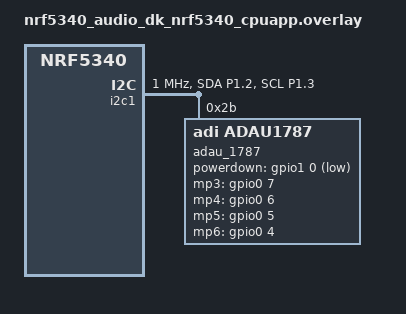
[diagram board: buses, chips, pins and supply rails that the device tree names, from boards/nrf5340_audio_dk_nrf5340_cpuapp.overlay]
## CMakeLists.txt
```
#
# Copyright (c) 2022 Nordic Semiconductor ASA
#
# SPDX-License-Identifier: LicenseRef-Nordic-5-Clause
#

cmake_minimum_required(VERSION 3.20.0)

# Flag which defines whether application is compiled as gateway/dongle or headset
add_compile_definitions(HEADSET=1)
add_compile_definitions(GATEWAY=2)

find_package(Zephyr REQUIRED HINTS $ENV{ZEPHYR_BASE})

project(new-tiresias)

string(TIMESTAMP NRF5340_AUDIO_CORE_APP_COMP_DATE "%a %b %d %H:%M:%S %Y")

# Generate fw_info_app.c
configure_file("${CMAKE_CURRENT_SOURCE_DIR}/src/utils/fw_info_app.c.in"
               "${CMAKE_BINARY_DIR}/fw_info_app.c"
               @ONLY)

target_sources(app PRIVATE
    ${CMAKE_BINARY_DIR}/fw_info_app.c
    )

target_sources(app PRIVATE src/main.c)

# Include application events and configuration headers
zephyr_library_include_directories(
    include
    src/audio
    src/application
    src/bluetooth
    src/codec
    src/drivers
    src/modules
    src/utils
    src/utils/macros
    src/SigmaStudioFiles
)

# Application sources
add_subdirectory(src/audio)
add_subdirectory(src/application)
add_subdirectory(src/bluetooth)
add_subdirectory(src/codec)
add_subdirectory(src/drivers)
add_subdirectory(src/modules)
add_subdirectory(src/utils)
add_subdirectory(src/SigmaStudioFiles)
```

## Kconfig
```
#
# Copyright (c) 2018 Nordic Semiconductor ASA
#
# SPDX-License-Identifier: LicenseRef-Nordic-5-Clause
#

menuconfig NRF5340_AUDIO
	 bool "nRF5340 Audio [EXPERIMENTAL]"
	 select EXPERIMENTAL

if NRF5340_AUDIO

config TIRESIAS_AUDIO_HW
	bool "Enable Tiresias hardware audio path"
	default y if BOARD_TIRESIAS_DK_NRF5340_CPUAPP
	depends on BOARD_TIRESIAS_DK_NRF5340_CPUAPP
	help
	  Enable the I2S audio datapath used by the Tiresias DK. Disable this
	  option for Bluetooth-only testing on boards without the Tiresias audio
	  hardware. The Bluetooth transport remains active and received ISO data
	  is discarded by compile-time stubs.

config AUDIO_CODEC_ADAU1787
	bool "Enable ADAU1787 codec integration"
	default y if TIRESIAS_AUDIO_HW
	depends on I2C && GPIO
	help
	  Enable ADAU1787 hardware behavior in Codec Controller. The ADAU1787
	  driver and SigmaStudio export compile independently of this option so
	  their APIs and compile coverage remain available during integration work.

	  The target devicetree must provide an enabled adau_1787 node on the
	  desired I2C bus, including powerdown-gpios and MP3 through MP6 GPIOs.
	  The Tiresias DK board supplies this node; other boards must supply it
	  in an application overlay.

config CUSTOM_BROADCASTER
	bool "Allow custom broadcasters"
	default n
	help
	  Incomplete feature for now, but will introduce support for multiple BIGs and subgroups.

config AUDIO_DEV
	int "Select which device type to compile for. 1=HEADSET or 2=GATEWAY"
	range 1 2
	default 1
	help
	  Setting this variable to 1 selects that the project is compiled
	  as a HEADSET device.
	  Setting to 2 will compile as a GATEWAY.

choice NRF5340_AUDIO_TRANSPORT_MODE
	prompt "Choose BIS or CIS for ISO transport"
	default TRANSPORT_CIS if WALKIE_TALKIE_DEMO
	default TRANSPORT_CIS

config TRANSPORT_BIS
	bool "Use BIS (Broadcast Isochronous Stream)"

config TRANSPORT_CIS
	bool "Use CIS (Connected Isochronous Stream)"

endchoice

#----------------------------------------------------------------------------#
rsource "Kconfig.defaults"
rsource "src/audio/Kconfig"
rsource "src/bluetooth/Kconfig"
rsource "src/drivers/Kconfig"
rsource "src/modules/Kconfig"
rsource "src/utils/Kconfig"

#----------------------------------------------------------------------------#
menu "Logging"

module = MAIN
module-str = main
source "subsys/logging/Kconfig.template.log_config"

config PRINT_STACK_USAGE_MS
	depends on THREAD_ANALYZER && INIT_STACKS
	int "Print stack usage every x milliseconds"
	default 5000

endmenu # Log levels

#----------------------------------------------------------------------------#
endif # NRF5340_AUDIO

source "Kconfig.zephyr"
```

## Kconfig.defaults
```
#
# Copyright (c) 2022 Nordic Semiconductor ASA
#
# SPDX-License-Identifier: LicenseRef-Nordic-5-Clause
#

config REBOOT
	default y

config MAIN_THREAD_PRIORITY
	default 10

config MAIN_STACK_SIZE
	default 8192

config SYSTEM_WORKQUEUE_STACK_SIZE
	default 1200

# As long as thread names are used, config must be set to "y"
config THREAD_NAME
	default y

# Workaround to not use fatal_error.c in NCS. Note that the system may still
# reset on error depending on the build configuraion
config RESET_ON_FATAL_ERROR
	default n

# Default Config for Debug and Release build
config BT
	default y

config ZBUS
	default y

config ZBUS_RUNTIME_OBSERVERS
	default y

config ZBUS_MSG_SUBSCRIBER
	default y

config SENSOR
	default y

config REGULATOR
	default y

config CONTIN_ARRAY
	default y if TIRESIAS_AUDIO_HW

config NRFX_I2S0
	default y if TIRESIAS_AUDIO_HW

config PCM_MIX
	default y if TIRESIAS_AUDIO_HW

config PSCM
	default y if TIRESIAS_AUDIO_HW

config DATA_FIFO
	default y

# Enable NRFX_CLOCK for ACLK control
config NRFX_CLOCK
	default y

config I2C
	default y

choice LIBC_IMPLEMENTATION
	# NOTE: Since we are not using minimal libc, error codes from
	#       minimal libc are not used
	default NEWLIB_LIBC
endchoice

# Audio codec LC3 related defines
# FPU_SHARING enables preservation of the hardware floating point registers
# across context switches to allow multiple threads to perform concurrent
# floating point operations.
config FPU
	default y

config FPU_SHARING
	default y

# Enable SDHC interface
config DISK_DRIVERS
	default y

config DISK_DRIVER_SDMMC
	default y

# Enable SPI interface
config SPI
	default y

# Enable ADC for board version readback
config ADC
	default y

# Allocate buffer on RAM for transferring chunck of data
# from Flash to SPI
config SPI_NRFX_RAM_BUFFER_SIZE
	default 8

# Config the file system
config FILE_SYSTEM
	default y

config FAT_FILESYSTEM_ELM
	default y

config FS_FATFS_LFN
	default y
choice FS_FATFS_LFN_MODE
	# Using stack for LFN work queue
	default FS_FATFS_LFN_MODE_STACK
endchoice

# exFAT enabled to support longer file names and higher transfer speed
config FS_FATFS_EXFAT
	default y

config WATCHDOG
	default y

config TASK_WDT
	default y
```

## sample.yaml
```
sample:
  name: Tiresias DK firmware
  description: Firmware for the Tiresias DK hearing-aid prototype
common:
  integration_platforms:
    - tiresias_dk/nrf5340/cpuapp
  platform_allow:
    - tiresias_dk/nrf5340/cpuapp
    - nrf5340_audio_dk/nrf5340/cpuapp
    - nrf5340dk/nrf5340/cpuapp
  sysbuild: true
  build_only: true
  tags:
    - tiresias
    - audio
    - bluetooth
    - sysbuild
tests:
  applications.tiresias.default: {}
```

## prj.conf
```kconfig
#
# Copyright (c) 2024 Nordic Semiconductor ASA
#
# SPDX-License-Identifier: LicenseRef-Nordic-5-Clause
#

# nRF5340 Audio
CONFIG_NRF5340_AUDIO=y
CONFIG_SAMPLE_RATE_CONVERTER=y
CONFIG_SAMPLE_RATE_CONVERTER_FILTER_SIMPLE=y

# General
CONFIG_DEBUG=y
CONFIG_DEBUG_INFO=y
CONFIG_ASSERT=y
CONFIG_STACK_USAGE=y
CONFIG_THREAD_RUNTIME_STATS=y
CONFIG_STACK_SENTINEL=y
CONFIG_INIT_STACKS=y
CONFIG_BT=y

# Uart driver
CONFIG_SERIAL=y

# Logging
CONFIG_LOG=y
CONFIG_NEWLIB_LIBC_FLOAT_PRINTF=y
CONFIG_LOG_TAG_MAX_LEN=2
CONFIG_LOG_TAG_DEFAULT="--"
CONFIG_LOG_BACKEND_UART=n
CONFIG_LOG_BACKEND_RTT=y
CONFIG_LOG_BUFFER_SIZE=4096

# Use this for debugging thread usage
#CONFIG_LOG_THREAD_ID_PREFIX=y

# Console related defines
CONFIG_CONSOLE=y
CONFIG_RTT_CONSOLE=y
CONFIG_UART_CONSOLE=n
CONFIG_SEGGER_RTT_BUFFER_SIZE_UP=8192

# Shell related defines
CONFIG_SHELL=y
CONFIG_KERNEL_SHELL=y
CONFIG_USE_SEGGER_RTT=y
CONFIG_SHELL_BACKEND_RTT=n
CONFIG_SHELL_BACKEND_SERIAL=n
CONFIG_SHELL_VT100_COMMANDS=y
CONFIG_SHELL_VT100_COLORS=y
CONFIG_SHELL_STACK_SIZE=4096
CONFIG_SHELL_CMD_BUFF_SIZE=128
## Reduce shell memory usage
CONFIG_SHELL_WILDCARD=n
CONFIG_SHELL_HELP_ON_WRONG_ARGUMENT_COUNT=n
CONFIG_SHELL_STATS=n
CONFIG_SHELL_CMDS=n
CONFIG_SHELL_HISTORY=y

# Turn off default shell commands
CONFIG_I2C_SHELL=n
CONFIG_HWINFO_SHELL=n
CONFIG_CLOCK_CONTROL_NRF_SHELL=n
CONFIG_FLASH_SHELL=n
CONFIG_DEVICE_SHELL=n

# Suppress LOG_ERR messages from sd_check_card_type. Because SPI_SDHC has no card presence method,
# assume card is in slot. Thus error message is always shown if card is not inserted
CONFIG_SD_LOG_LEVEL_OFF=y

# Suppress LOG_INF messages from hci_core
CONFIG_BT_HCI_CORE_LOG_LEVEL_WRN=y

# DFU
CONFIG_AUDIO_BT_MGMT_DFU=y
CONFIG_MCUMGR_TRANSPORT_BT_PERM_RW=y
CONFIG_BT_L2CAP_TX_MTU=498
CONFIG_BT_BUF_ACL_TX_SIZE=251

# External Flash
CONFIG_FLASH=y
CONFIG_FLASH_MAP=y
CONFIG_SPI_NOR=y
CONFIG_SPI_NOR_SFDP_DEVICETREE=y

# ====================== Broadcast Sink ====================== #

CONFIG_TRANSPORT_BIS=y
CONFIG_AUDIO_DEV=1
CONFIG_BT_DEVICE_NAME="Tiresias_DK"

## ACL related configs ##
CONFIG_BT_OBSERVER=y
CONFIG_BT_PERIPHERAL=y
CONFIG_BT_SMP=y
CONFIG_BT_AUDIO=y
CONFIG_BT_GATT_DYNAMIC_DB=y
CONFIG_BT_GATT_CACHING=n

## Device Information Service
CONFIG_BT_DIS=y
CONFIG_BT_DIS_MANUF_NAME=y
CONFIG_BT_DIS_MANUF_NAME_STR="EESC-USP"
CONFIG_BT_DIS_MODEL_NUMBER=y
CONFIG_BT_DIS_MODEL_NUMBER_STR="Tiresias Hearing Aid"
CONFIG_BT_DIS_FW_REV=y

CONFIG_SETTINGS=y
CONFIG_BT_SETTINGS=y
CONFIG_FLASH=y
CONFIG_FLASH_MAP=y
CONFIG_NVS=y

CONFIG_MBEDTLS_ENABLE_HEAP=y
CONFIG_MBEDTLS_HEAP_SIZE=2048

CONFIG_BT_BUF_ACL_TX_COUNT=18

CONFIG_BT_PERIPHERAL_PREF_MIN_INT=64
CONFIG_BT_PERIPHERAL_PREF_MAX_INT=69
CONFIG_BT_PERIPHERAL_PREF_LATENCY=0
CONFIG_BT_PERIPHERAL_PREF_TIMEOUT=200

# Generic Audio Sink - 0x0840
CONFIG_BT_DEVICE_APPEARANCE=2112
CONFIG_BT_PER_ADV_SYNC_MAX=2

## ISO related configs ##
CONFIG_BT_BAP_BROADCAST_SNK_STREAM_COUNT=2
CONFIG_BT_BAP_BROADCAST_SNK_COUNT=2
CONFIG_BT_ISO_MAX_CHAN=2
CONFIG_BT_ISO_MAX_BIG=2

## PACS related configs ##
CONFIG_BT_PAC_SNK_NOTIFIABLE=y
CONFIG_BT_PAC_SNK=y
CONFIG_BT_PAC_SRC_NOTIFIABLE=y
CONFIG_BT_PAC_SRC=y

## Audio related configs ##
CONFIG_AUDIO_MUTE=n
CONFIG_AUDIO_TEST_TONE=y

CONFIG_BT_ISO_SYNC_RECEIVER=y
CONFIG_BT_BAP_SCAN_DELEGATOR=y
CONFIG_BT_BAP_BROADCAST_SINK=y

## LC3 related configs ##
CONFIG_LC3_DEC_CHAN_MAX=1
```

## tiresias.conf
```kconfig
# I2S
CONFIG_I2S=n
CONFIG_NRFX_I2S0=y
CONFIG_I2S_NRFX=n
CONFIG_SERIAL=y
# Bluetooth
CONFIG_BT=y
CONFIG_BT_PERIPHERAL=y
CONFIG_BT_DEVICE_NAME="Tiresias_DK"
CONFIG_BT_GATT_DYNAMIC_DB=y
CONFIG_BT_SMP=y
## Device Information Service
CONFIG_BT_DIS=y
CONFIG_BT_DIS_MANUF_NAME=y
CONFIG_BT_DIS_MANUF_NAME_STR="EESC-USP"
CONFIG_BT_DIS_MODEL_NUMBER=y
CONFIG_BT_DIS_MODEL_NUMBER_STR="Tiresias Hearing Aid"
CONFIG_BT_DIS_FW_REV=y
## Battery Service
CONFIG_BT_BAS=y
# https://docs.nordicsemi.com/bundle/zephyr-apis-latest/page/group_bt_bas.html
# CONFIG_BT_AUDIO=y
# CONFIG_BT_BAP_BROADCAST_SINK=y
# CONFIG_BT_ISO=y
# MCUMGR
CONFIG_MCUMGR=y
CONFIG_MCUMGR_TRANSPORT_BT=y
CONFIG_MCUMGR_GRP_OS=y
CONFIG_MCUMGR_GRP_IMG=y
CONFIG_MCUMGR_GRP_SHELL=y
CONFIG_STATS=y
CONFIG_MCUMGR_GRP_STAT=y
CONFIG_SHELL=y
CONFIG_BT_SHELL=y
CONFIG_SHELL_BACKEND_DUMMY=y
# GPIO
CONFIG_GPIO=y
# Debug
CONFIG_DEBUG_THREAD_INFO=y
CONFIG_DEBUG_OPTIMIZATIONS=y
# Log
CONFIG_LOG=y
CONFIG_LOG_MODE_DEFERRED=n
# Enable RTT
CONFIG_USE_SEGGER_RTT=y
CONFIG_LOG_BACKEND_RTT=y
CONFIG_LOG_BACKEND_SHOW_COLOR=n
CONFIG_LOG_MODE_IMMEDIATE=n
CONFIG_SEGGER_RTT_BUFFER_SIZE_UP=8192
# Enables console over RTT
CONFIG_RTT_CONSOLE=y
# ZBUS
CONFIG_ZBUS=y
CONFIG_ZBUS_LOG_LEVEL_INF=y
CONFIG_ZBUS_RUNTIME_OBSERVERS=y
# Stacks and heaps
CONFIG_MAIN_STACK_SIZE=16384
CONFIG_HEAP_MEM_POOL_SIZE=16384
# I2C
CONFIG_I2C=y
CONFIG_NRFX_TWIM1=y
CONFIG_NRFX_TIMER1=y
# NFC pins disable
# CONFIG_NFCT_PINS_AS_GPIOS=y
# Storage
CONFIG_FLASH=y
CONFIG_FLASH_MAP=y
CONFIG_NVS=y
CONFIG_MPU_ALLOW_FLASH_WRITE=y
# Tiresias
# CONFIG_NO_AUDIO_CODEC=y
# CONFIG_AUDIO_CODEC_ADAU1787 defaults to y with the Tiresias audio path, but
# can also be enabled independently for an externally connected codec.
# CONFIG_AUDIO_CODEC_ADAU1787=y
# FOTA
CONFIG_NCS_SAMPLE_MCUMGR_BT_OTA_DFU=y
CONFIG_PINCTRL=y
```

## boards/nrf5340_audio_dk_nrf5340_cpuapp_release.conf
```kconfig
#
# Copyright (c) 2024 Nordic Semiconductor ASA
#
# SPDX-License-Identifier: LicenseRef-Nordic-5-Clause
#

# This target has no onboard Tiresias audio path. CONFIG_AUDIO_CODEC_ADAU1787
# remains independently selectable when an external codec is described by an
# application devicetree overlay.
CONFIG_TIRESIAS_AUDIO_HW=n
# CONFIG_AUDIO_CODEC_ADAU1787=y
CONFIG_NRF5340_AUDIO_CS47L63_DRIVER=n
CONFIG_NRF5340_AUDIO_POWER_MEASUREMENT=n
CONFIG_NRF5340_AUDIO_SD_CARD_MODULE=n
```

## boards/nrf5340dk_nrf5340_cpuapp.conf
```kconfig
#
# Copyright (c) 2026 Tiresias Firmware Team
#
# SPDX-License-Identifier: LicenseRef-Nordic-5-Clause
#

# This target has no onboard Tiresias audio path. CONFIG_AUDIO_CODEC_ADAU1787
# remains independently selectable when an external codec is described by an
# application devicetree overlay.
CONFIG_TIRESIAS_AUDIO_HW=n
# CONFIG_AUDIO_CODEC_ADAU1787=y
CONFIG_NRF5340_AUDIO_CS47L63_DRIVER=n
CONFIG_NRF5340_AUDIO_POWER_MEASUREMENT=n
CONFIG_NRF5340_AUDIO_SD_CARD_MODULE=n
```

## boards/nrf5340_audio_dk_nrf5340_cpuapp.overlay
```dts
/ {
	aliases {
		led0 = &led1_blue;
		led1 = &led2_green;
		led2 = &led3_green;
	};
};

&i2c1 {
	status = "okay";
	compatible = "nordic,nrf-twim";
	label = "I2C_1";
	pinctrl-0 = <&i2c1_default>;
	pinctrl-1 = <&i2c1_sleep>;
	pinctrl-names = "default", "sleep";
	clock-frequency = <I2C_BITRATE_FAST_PLUS>;
	zephyr,concat-buf-size = <4092>;
	zephyr,flash-buf-max-size = <4092>;

	adau_1787: adau_1787@2b {
		compatible = "adi,adau1787";
		status = "okay";
		reg = <0x2b>;
		label = "adau_1787";
		powerdown-gpios = <&gpio1 0 GPIO_ACTIVE_LOW>;
		mp3-gpios = <&gpio0 7 GPIO_ACTIVE_HIGH>;
		mp4-gpios = <&gpio0 6 GPIO_ACTIVE_HIGH>;
		mp5-gpios = <&gpio0 5 GPIO_ACTIVE_HIGH>;
		mp6-gpios = <&gpio0 4 GPIO_ACTIVE_HIGH>;
	};

//   bmi270: bmi270@68 {
//     compatible = "bosch,bmi270";
//     status = "okay";
//     reg = <0x68>;
//     label = "bmi270";
//     irq-gpios = <&gpio0 2 GPIO_ACTIVE_HIGH>, <&gpio0 3 GPIO_ACTIVE_HIGH>;
//   };

};

&pinctrl {
	i2c1_default: i2c1_default {
		group1 {
			psels = <NRF_PSEL(TWIM_SDA, 1, 2)>,
				<NRF_PSEL(TWIM_SCL, 1, 3)>;
		};
	};

	i2c1_sleep: i2c1_sleep {
		group1 {
			psels = <NRF_PSEL(TWIM_SDA, 1, 2)>,
				<NRF_PSEL(TWIM_SCL, 1, 3)>;
			low-power-enable;
		};
	};
};
```

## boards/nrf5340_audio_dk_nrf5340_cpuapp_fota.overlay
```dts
/ {
	aliases {
		led0 = &led1_blue;
		led1 = &led2_green;
		led2 = &led3_green;
	};

	chosen {
		nordic,pm-ext-flash = &mx25r64;
	};
};

&qspi {
	status = "disabled";
};

&spi4 {
	cs-gpios = <&gpio1 10 GPIO_ACTIVE_LOW>, <&gpio0 11 GPIO_ACTIVE_LOW>, <&gpio0 17 GPIO_ACTIVE_LOW>;
	status = "okay";
	mx25r64: mx25r6435f@0 {

		compatible = "jedec,spi-nor";
		reg = <0>;
		spi-max-frequency = <8000000>;

		jedec-id = [c2 28 17];
		sfdp-bfp = [
			e5 20 f1 ff  ff ff ff 03  44 eb 08 6b  08 3b 04 bb
			ee ff ff ff  ff ff 00 ff  ff ff 00 ff  0c 20 0f 52
			10 d8 00 ff  23 72 f5 00  82 ed 04 cc  44 83 68 44
			30 b0 30 b0  f7 c4 d5 5c  00 be 29 ff  f0 d0 ff ff
		];
		size = <67108864>;
		has-dpd;
		t-enter-dpd = <10000>;
		t-exit-dpd = <5000>;
		dpd-wakeup-sequence = <30000 20 45000>;
	};
};

&gpio_fwd {
	uart {
		gpios = < &gpio1 0x9 0x0 >, < &gpio1 0x8 0x0 >, < &gpio1 0xb 0x0 >;
	};
};
```

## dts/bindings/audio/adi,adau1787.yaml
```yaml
# SPDX-License-Identifier: Apache-2.0

description: Analog Devices ADAU1787 audio codec

compatible: "adi,adau1787"

include: i2c-device.yaml

properties:
  powerdown-gpios:
    type: phandle-array
    required: true
    description: |
      GPIO connected to the codec power-down pin. The ADAU1787 pin is active
      low, so boards should normally define this as GPIO_ACTIVE_LOW.

  mp3-gpios:
    type: phandle-array
    required: true
    description: GPIO connected to the codec MP3 multipurpose pin.

  mp4-gpios:
    type: phandle-array
    required: true
    description: GPIO connected to the codec MP4 multipurpose pin.

  mp5-gpios:
    type: phandle-array
    required: true
    description: GPIO connected to the codec MP5 multipurpose pin.

  mp6-gpios:
    type: phandle-array
    required: true
    description: GPIO connected to the codec MP6 multipurpose pin.
```

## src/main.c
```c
/*
 * Copyright (c) 2023 Nordic Semiconductor ASA
 *
 * SPDX-License-Identifier: LicenseRef-Nordic-5-Clause
 */

#include "device_controller.h"
#include "fw_info_app.h"
#include "macros_common.h"
#include "tiresias_dk.h"
#include "tiresias_service.h"

#include <zephyr/logging/log.h>

LOG_MODULE_REGISTER(main, CONFIG_MAIN_LOG_LEVEL);

int main(void)
{
  int ret;

  LOG_DBG("Main started");

  ret = tiresias_dk_init();
  ERR_CHK(ret);

  ret = fw_info_app_print();
  ERR_CHK(ret);

  ret = tiresias_service_init();
  ERR_CHK(ret);

  ret = device_controller_run();
  ERR_CHK(ret);

  return ret;
}
```

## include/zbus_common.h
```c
/*
 * Copyright (c) 2023 Nordic Semiconductor ASA
 *
 * SPDX-License-Identifier: LicenseRef-Nordic-5-Clause
 */

#ifndef _ZBUS_COMMON_H_
#define _ZBUS_COMMON_H_

#include <zephyr/bluetooth/audio/audio.h>

#include "le_audio.h"

#define ZBUS_READ_TIMEOUT_MS	K_MSEC(100)
#define ZBUS_ADD_OBS_TIMEOUT_MS K_MSEC(200)

/***** Messages for zbus ******/

/* === Button === */
typedef enum btn_event_t {
	BUTTON_1_PRESSED,
} btn_event_t;
typedef struct btn_chan_msg_t {
	enum btn_event_t event;
} btn_chan_msg_t;

/* === Device Controller subsystem === */
typedef enum device_controller_cmd {
  DEVICE_CONTROLLER_CMD_START,
  DEVICE_CONTROLLER_CMD_LOW_POWER,
  DEVICE_CONTROLLER_CMD_WAKE,
  DEVICE_CONTROLLER_CMD_POWER_OFF,
  DEVICE_CONTROLLER_CMD_RECOVER,
} device_controller_cmd;

typedef struct device_controller_cmd_chan_msg {
  enum device_controller_cmd cmd;
} device_controller_cmd_chan_msg;

typedef enum device_controller_state {
  DEVICE_CONTROLLER_STATE_OFF,
  DEVICE_CONTROLLER_STATE_INITIALIZING,
  DEVICE_CONTROLLER_STATE_OPERATIONAL,
  DEVICE_CONTROLLER_STATE_LOW_POWER,
  DEVICE_CONTROLLER_STATE_FAULT,
} device_controller_state;

typedef struct device_controller_state_chan_msg {
  enum device_controller_state state;
} device_controller_state_chan_msg;

/* === Codec Controller subsystem === */
typedef enum codec_controller_cmd {
  CODEC_CONTROLLER_CMD_INITIALIZE,
  CODEC_CONTROLLER_CMD_SELECT_LOCAL,
  CODEC_CONTROLLER_CMD_SELECT_BROADCAST,
  CODEC_CONTROLLER_CMD_POWER_DOWN,
  CODEC_CONTROLLER_CMD_RESET,
} codec_controller_cmd;

typedef struct codec_controller_cmd_chan_msg {
  enum codec_controller_cmd cmd;
} codec_controller_cmd_chan_msg;

typedef enum codec_controller_state {
  CODEC_CONTROLLER_STATE_OFF,
  CODEC_CONTROLLER_STATE_INITIALIZING,
  CODEC_CONTROLLER_STATE_LOCAL_ONLY,
  CODEC_CONTROLLER_STATE_BROADCAST_ONLY,
  CODEC_CONTROLLER_STATE_ERROR,
} codec_controller_state;

typedef struct codec_controller_state_chan_msg {
  enum codec_controller_state state;
} codec_controller_state_chan_msg;

typedef enum codec_controller_result {
  CODEC_CONTROLLER_RESULT_COMMAND_REJECTED,
  CODEC_CONTROLLER_RESULT_OPERATION_FAILED,
} codec_controller_result;

typedef struct codec_controller_result_chan_msg {
  enum codec_controller_cmd cmd;
  enum codec_controller_result result;
  int error;
} codec_controller_result_chan_msg;

/* === Control Link subsystem === */
typedef enum control_link_cmd {
  CONTROL_LINK_CMD_ENABLE_CONTROL,
  CONTROL_LINK_CMD_DISABLE_CONTROL,
  CONTROL_LINK_CMD_RESET,
} control_link_cmd;

typedef struct control_link_cmd_chan_msg {
  enum control_link_cmd cmd;
} control_link_cmd_chan_msg;

typedef enum control_link_state {
  CONTROL_LINK_STATE_DISABLED,
  CONTROL_LINK_STATE_ADVERTISING,
  CONTROL_LINK_STATE_LINKED,
  CONTROL_LINK_STATE_READY,
  CONTROL_LINK_STATE_ERROR,
} control_link_state;

typedef struct control_link_state_chan_msg {
  enum control_link_state state;
} control_link_state_chan_msg;

typedef enum control_link_result {
  CONTROL_LINK_RESULT_COMMAND_REJECTED,
  CONTROL_LINK_RESULT_OPERATION_FAILED,
} control_link_result;

typedef struct control_link_event_chan_msg {
  enum control_link_cmd cmd;
  enum control_link_result result;
  int error;
} control_link_event_chan_msg;

/* === Audio Streaming subsystem === */
typedef enum audio_streaming_cmd {
  AUDIO_STREAMING_CMD_ENABLE_RECEIVER,
  AUDIO_STREAMING_CMD_START_SCAN,
  AUDIO_STREAMING_CMD_STOP_SCAN,
  AUDIO_STREAMING_CMD_STOP,
  AUDIO_STREAMING_CMD_DISABLE_RECEIVER,
  AUDIO_STREAMING_CMD_RESET,
} audio_streaming_cmd;

typedef struct audio_streaming_cmd_chan_msg {
  enum audio_streaming_cmd cmd;
} audio_streaming_cmd_chan_msg;

typedef enum audio_streaming_state {
  AUDIO_STREAMING_STATE_DISABLED,
  AUDIO_STREAMING_STATE_IDLE,
  AUDIO_STREAMING_STATE_SCANNING,
  AUDIO_STREAMING_STATE_PA_SYNCED,
  AUDIO_STREAMING_STATE_BIS_SYNCING,
  AUDIO_STREAMING_STATE_STREAMING,
  AUDIO_STREAMING_STATE_RECOVERING,
  AUDIO_STREAMING_STATE_ERROR,
} audio_streaming_state;

typedef struct audio_streaming_state_chan_msg {
  enum audio_streaming_state state;
} audio_streaming_state_chan_msg;

typedef enum audio_streaming_result {
  AUDIO_STREAMING_RESULT_COMMAND_REJECTED,
  AUDIO_STREAMING_RESULT_OPERATION_FAILED,
} audio_streaming_result;

typedef struct audio_streaming_result_chan_msg {
  enum audio_streaming_cmd cmd;
  enum audio_streaming_result result;
  int error;
} audio_streaming_result_chan_msg;

/* === LED === */
typedef enum board_led_t {
  LED_1,
  LED_2,
  LED_3,
} board_led_t;
typedef enum led_cmd_t {
  TURN_ON,
  TURN_OFF,
  TOGGLE,
  BLINK,
} led_cmd_t;
typedef struct led_chan_msg_t {
  enum board_led_t led;
  enum led_cmd_t cmd;
} led_chan_msg_t;

enum le_audio_evt_type {
	LE_AUDIO_EVT_CONFIG_RECEIVED = 1,
	LE_AUDIO_EVT_PRES_DELAY_SET,
	LE_AUDIO_EVT_STREAMING,
	LE_AUDIO_EVT_NOT_STREAMING,
	LE_AUDIO_EVT_STREAM_SENT,
	LE_AUDIO_EVT_SYNC_LOST,
	LE_AUDIO_EVT_NO_VALID_CFG,
	LE_AUDIO_EVT_COORD_SET_DISCOVERED,
};

struct le_audio_msg {
	enum le_audio_evt_type event;
	struct bt_conn *conn;
	struct bt_le_per_adv_sync *pa_sync;
	enum bt_audio_dir dir;
	uint8_t set_size;
	uint8_t const *sirk;
	struct stream_index idx;
};

/**
 * tx_sync_ts_us	The timestamp from get_tx_sync.
 * curr_ts_us		The current time. This must be in the controller frame of reference.
 */
struct sdu_ref_msg {
	uint32_t tx_sync_ts_us;
	uint32_t curr_ts_us;
	bool adjust;
};

enum bt_mgmt_evt_type {
	BT_MGMT_EXT_ADV_WITH_PA_READY = 1,
	BT_MGMT_CONNECTED,
	BT_MGMT_SECURITY_CHANGED,
	BT_MGMT_PA_SYNCED,
	BT_MGMT_PA_SYNC_LOST,
	BT_MGMT_DISCONNECTED,
	BT_MGMT_BROADCAST_SINK_DISABLE,
	BT_MGMT_BROADCAST_CODE_RECEIVED,
	BT_MGMT_EXT_ADV_STARTED,
	BT_MGMT_EXT_ADV_FAILED,
};

struct bt_mgmt_msg {
	enum bt_mgmt_evt_type event;
	struct bt_conn *conn;
	bool peripheral;
	uint8_t index;
	struct bt_le_ext_adv *ext_adv;
	struct bt_le_per_adv_sync *pa_sync;
	uint32_t broadcast_id;
	uint8_t pa_sync_term_reason;
	int error;
};

enum volume_evt_type {
	VOLUME_UP = 1,
	VOLUME_DOWN,
	VOLUME_SET,
	VOLUME_MUTE,
	VOLUME_UNMUTE,
};

struct volume_msg {
	enum volume_evt_type event;
	uint8_t volume;
};

enum content_control_evt_type {
	MEDIA_START = 1,
	MEDIA_STOP,
};

struct content_control_msg {
	enum content_control_evt_type event;
};

#endif /* _ZBUS_COMMON_H_ */
```
